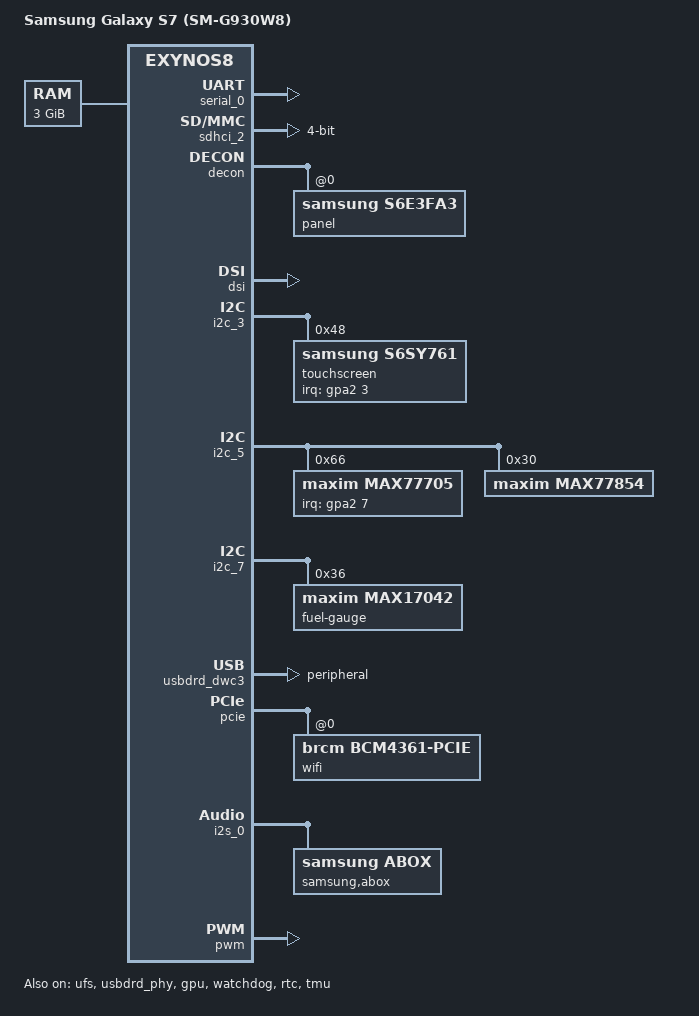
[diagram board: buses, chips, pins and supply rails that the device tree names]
/*
 * Samsung Galaxy S7 (SM-G930W8) - herolight
 * Device Tree Source for mainline Linux
 *
 * Based on Samsung's GPL kernel source for universal8890
 * and upstream Exynos 8890 support.
 *
 * This device tree is a WORK IN PROGRESS for ztOS porting.
 * Many nodes are disabled pending driver bring-up.
 */

/dts-v1/;

#include "exynos8890.dtsi"

/ {
	model = "Samsung Galaxy S7 (SM-G930W8)";
	compatible = "samsung,herolight", "samsung,exynos8890", "samsung,exynos8";

	aliases {
		serial0 = &serial_0;
		console = &serial_0;
	};

	chosen {
		stdout-path = "serial0:115200n8";
		#address-cells = <2>;
		#size-cells = <2>;
	};

	/* 4GB RAM configuration for herolight */
	memory@80000000 {
		device_type = "memory";
		/* First 3GB at 0x80000000 */
		reg = <0x0 0x80000000 0x0 0xC0000000>;
	};

	/* No second memory bank - herolight has 4GB, not 6GB like hero2lte */

	reserved-memory {
		#address-cells = <2>;
		#size-cells = <2>;
		ranges;

		/* Modem/sharing region */
		modem_if@8f700000 {
			compatible = "shared-dma-pool";
			reg = <0x0 0x8f700000 0x0 0x01000000>;
			no-map;
		};

		/* Samsung TZ reserved */
		tzfw@90000000 {
			reg = <0x0 0x90000000 0x0 0x01000000>;
			no-map;
		};
	};
};

/* UART 0 - Debug console (no physical UART on phone, uses ramoops) */
&serial_0 {
	status = "okay";
};

/* UFS - Internal storage */
&ufs {
	status = "okay";
	/* UFS reset gpio - to be determined */
};

/* SDHCI - SD card / external storage */
&sdhci_2 {
	status = "okay";
	bus-width = <4>;
	cap-sd-highspeed;
	/* SD card detect GPIO */
};

/* DECON - Display controller */
&decon {
	status = "okay";

	/* 5.1" 1440x2560 Super AMOLED panel */
	samsung,fb-bpp = <32>;
	samsung,fb-vres = <2560>;
	samsung,fb-hres = <1440>;

	panel@0 {
		compatible = "samsung,s6e3fa3";
		reg = <0>;
		/* DSI channel 0 */
	};
};

/* DSI - Display Serial Interface */
&dsi {
	status = "okay";

	ports = <&dsim_port>;
};

/* Touchscreen - S6SY761 */
&i2c_3 {
	status = "okay";

	touchscreen@48 {
		compatible = "samsung,s6sy761";
		reg = <0x48>;
		interrupt-parent = <&gpa2>;
		interrupts = <3 IRQ_TYPE_EDGE_FALLING>;
		touchscreen-size-x = <1440>;
		touchscreen-size-y = <2560>;
	};
};

/* PMIC - MAX77705 + MAX77854 */
&i2c_5 {
	status = "okay";

	max77705@66 {
		compatible = "maxim,max77705";
		reg = <0x66>;
		interrupt-parent = <&gpa2>;
		interrupts = <7 IRQ_TYPE_EDGE_FALLING>;

		/* Charger */
		charger {
			compatible = "maxim,max77705-charger";
			/* 3000mAh battery, 4.35V float, 1.5A charge current */
			battery-full-design-capacity-microamp-hours = <3000000>;
			constant-charge-voltage-max-microvolt = <4350000>;
			constant-charge-current-max-microamp = <1500000>;
		};

		/* Fuel gauge */
		fuel-gauge {
			compatible = "maxim,max77705-fg";
		};

		/* MUIC - Micro USB Interface Controller */
		muic {
			compatible = "maxim,max77705-muic";
		};

		/* Haptic/vibrator */
		haptic {
			compatible = "maxim,max77705-haptic";
		};
	};

	max77854@30 {
		compatible = "maxim,max77854";
		reg = <0x30>;
		/* Secondary PMIC for additional rails */
	};
};

/* Battery gauge - MAX17042 (secondary) */
&i2c_7 {
	status = "okay";

	fuel-gauge@36 {
		compatible = "maxim,max17042";
		reg = <0x36>;
		/* Used for accurate battery monitoring */
	};
};

/* USB - Exynos DWC3 */
&usbdrd_dwc3 {
	status = "okay";
	dr_mode = "peripheral"; /* Phone mode */
};

&usbdrd_phy {
	status = "okay";
};

/* PCIe - For Wi-Fi BCM4361 */
&pcie {
	status = "okay";

	/* Wi-Fi card on PCIe */
	wifi@0,0 {
		compatible = "brcm,bcm4361-pcie";
		reg = <0x0000 0 0 0 0>;
		/* Firmware loaded from vendor partition */
	};
};

/* I2S - Audio interface */
&i2s_0 {
	status = "okay";

	/* ABOX (Audio Box) - Samsung audio DSP */
	samsung,abox {
		compatible = "samsung,abox";
		/* Audio DSP firmware loaded from vendor partition */
	};
};

/* SPI - For fingerprint sensor (disabled until driver ready) */
&spi_0 {
	status = "disabled";
};

/* BLUETOOTH - UART connected (not started) */
&serial_1 {
	status = "disabled";
	/* Bluetooth HCI over UART */
};

/* NFC - NQ331 (disabled until driver ready) */
&i2c_6 {
	status = "disabled";
};

/* Sensor hub - Samsung SSP (disabled until driver ready) */
&i2c_4 {
	status = "disabled";
};

/* Camera - disabled until ISP driver ready */
&csis_0 {
	status = "disabled";
};

&csis_1 {
	status = "disabled";
};

&flite_0 {
	status = "disabled";
};

&flite_1 {
	status = "disabled";
};

/* GPU - Mali-T880 MP12 (enabled, Panfrost compatible) */
&gpu {
	status = "okay";
	/* Mali-T880 is Midgard, supported by Panfrost in Mesa */
};

/* CPU idle states - disabled until big core resume fixed */
&cpu0 {
	cpu-idle-states = <&idle_states>;
};

&cpu1 {
	cpu-idle-states = <&idle_states>;
};

&cpu2 {
	cpu-idle-states = <&idle_states>;
};

&cpu3 {
	cpu-idle-states = <&idle_states>;
};

/* Big cores (Mongoose M1) - no deep idle until resume fixed */
&cpu4 {
	/* Idle states disabled - see ztOS known issue #5 */
};

&cpu5 {
	/* Idle states disabled */
};

&cpu6 {
	/* Idle states disabled */
};

&cpu7 {
	/* Idle states disabled */
};

/* Thermal zones - basic configuration */
&thermal_zones {
	cpu_thermal: cpu-thermal {
		polling-delay-passive = <250>;
		polling-delay = <1000>;
		thermal-sensors = <&tmu_cpu>;

		trips {
			cpu_alert0: cpu-alert-0 {
				temperature = <85000>;
				hysteresis = <10000>;
				type = "passive";
			};
			cpu_crit: cpu-crit {
				temperature = <105000>;
				hysteresis = <10000>;
				type = "critical";
			};
		};

		cooling-maps {
			map0 {
				trip = <&cpu_alert0>;
				cooling-device = <&cpu0 THERMAL_NO_LIMIT THERMAL_NO_LIMIT>;
			};
		};
	};
};

/* Watchdog - enabled for failsafe */
&watchdog {
	status = "okay";
	/* 30-second watchdog for boot failsafe */
};

/* RTC - Real time clock */
&rtc {
	status = "okay";
};

/* PWM - for notification LED */
&pwm {
	status = "okay";
};

/* LED notification */
&leds {
	status = "okay";

	led_red {
		label = "red";
		/* PWM controlled */
	};

	led_green {
		label = "green";
	};

	led_blue {
		label = "blue";
	};
};

/* TMU - Thermal Management Unit */
&tmu {
	status = "okay";
};
